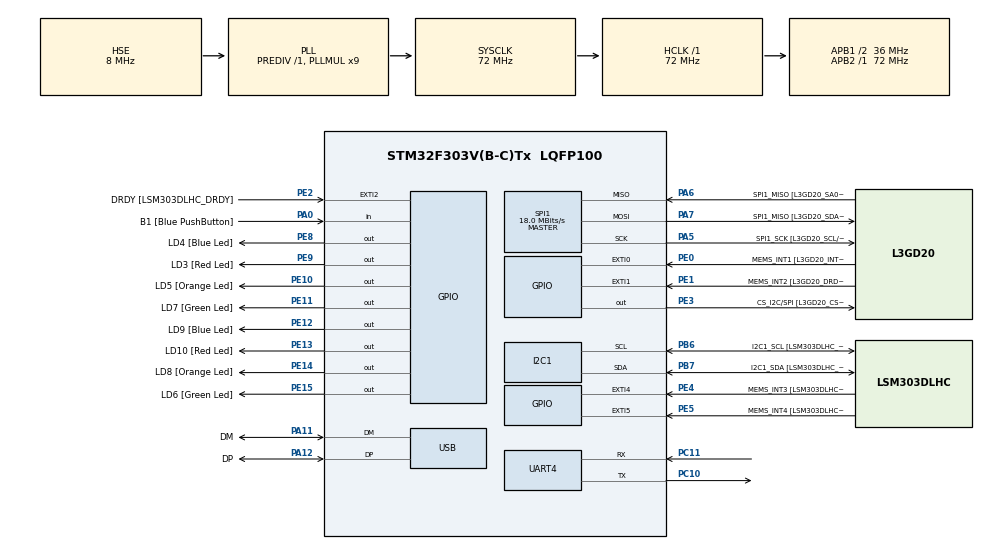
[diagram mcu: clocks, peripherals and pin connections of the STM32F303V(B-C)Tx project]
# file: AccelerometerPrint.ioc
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I2C1.Timing-I2C=0x2000090E
Mcu.Family=STM32F3
Mcu.Name=STM32F303V(B-C)Tx
Mcu.Package=LQFP100
NVIC.PriorityGroup=NVIC_PRIORITYGROUP_0
PA0.GPIO_Label=B1 [Blue PushButton]
PA0.Signal=GPIO_Input
PA11.GPIO_Label=DM
PA11.Mode=Device
PA11.Signal=USB_DM
PA12.GPIO_Label=DP
PA12.Mode=Device
PA12.Signal=USB_DP
PA13.GPIO_Label=SWDIO
PA13.Mode=Serial_Wire
PA13.Signal=SYS_JTMS-SWDIO
PA14.GPIO_Label=SWCLK
PA14.Mode=Serial_Wire
PA14.Signal=SYS_JTCK-SWCLK
PA5.GPIO_Label=SPI1_SCK [L3GD20_SCL/SPC]
PA5.Mode=Full_Duplex_Master
PA5.Signal=SPI1_SCK
PA6.GPIO_Label=SPI1_MISO [L3GD20_SA0/SDO]
PA6.Mode=Full_Duplex_Master
PA6.Signal=SPI1_MISO
PA7.GPIO_Label=SPI1_MISO [L3GD20_SDA/SDI/SDO]
PA7.Mode=Full_Duplex_Master
PA7.Signal=SPI1_MOSI
PB3.GPIO_Label=SWO
PB3.Signal=SYS_JTDO-TRACESWO
PB6.GPIO_Label=I2C1_SCL [LSM303DLHC_SCL]
PB6.GPIO_Pu=GPIO_PULLUP
PB6.Mode=I2C
PB6.Signal=I2C1_SCL
PB7.GPIO_Label=I2C1_SDA [LSM303DLHC_SDA]
PB7.GPIO_Pu=GPIO_PULLUP
PB7.Mode=I2C
PB7.Signal=I2C1_SDA
PC10.Mode=Multiprocessor_communication
PC10.Signal=UART4_TX
PC11.Mode=Multiprocessor_communication
PC11.Signal=UART4_RX
PC14-OSC32_IN.GPIO_Label=OSC32_IN
PC14-OSC32_IN.Signal=RCC_OSC32_IN
PC15-OSC32_OUT.GPIO_Label=OSC32_OUT
PC15-OSC32_OUT.Signal=RCC_OSC32_OUT
PE0.GPIO_Label=MEMS_INT1 [L3GD20_INT1]
PE0.GPIO_ModeDefaultEXTI=GPIO_MODE_EVT_RISING
PE0.Signal=GPXTI0
PE1.GPIO_Label=MEMS_INT2 [L3GD20_DRDY/INT2]
PE1.GPIO_ModeDefaultEXTI=GPIO_MODE_EVT_RISING
PE1.Signal=GPXTI1
PE10.GPIO_Label=LD5 [Orange Led]
PE10.Signal=GPIO_Output
PE11.GPIO_Label=LD7 [Green Led]
PE11.Signal=GPIO_Output
PE12.GPIO_Label=LD9 [Blue Led]
PE12.Signal=GPIO_Output
PE13.GPIO_Label=LD10 [Red Led]
PE13.Signal=GPIO_Output
PE14.GPIO_Label=LD8 [Orange Led]
PE14.Signal=GPIO_Output
PE15.GPIO_Label=LD6 [Green Led]
PE15.Signal=GPIO_Output
PE2.GPIO_Label=DRDY [LSM303DLHC_DRDY]
PE2.GPIO_ModeDefaultEXTI=GPIO_MODE_EVT_RISING
PE2.Signal=GPXTI2
PE3.GPIO_Label=CS_I2C/SPI [L3GD20_CS_I2C/SPI]
PE3.Signal=GPIO_Output
PE4.GPIO_Label=MEMS_INT3 [LSM303DLHC_INT1]
PE4.GPIO_ModeDefaultEXTI=GPIO_MODE_EVT_RISING
PE4.Signal=GPXTI4
PE5.GPIO_Label=MEMS_INT4 [LSM303DLHC_INT2]
PE5.GPIO_ModeDefaultEXTI=GPIO_MODE_EVT_RISING
PE5.Signal=GPXTI5
PE8.GPIO_Label=LD4 [Blue Led]
PE8.Signal=GPIO_Output
PE9.GPIO_Label=LD3 [Red Led]
PE9.Signal=GPIO_Output
PF0-OSC_IN.GPIO_Label=OSC_IN
PF0-OSC_IN.Mode=HSE-External-Clock-Source
PF0-OSC_IN.Signal=RCC_OSC_IN
PF1-OSC_OUT.GPIO_Label=OSC_OUT
PF1-OSC_OUT.Signal=RCC_OSC_OUT
ProjectManager.HeapSize=0x200
ProjectManager.StackSize=0x400
ProjectManager.TargetToolchain=STM32CubeIDE
RCC.AHBFreq_Value=72000000
RCC.APB1CLKDivider=RCC_HCLK_DIV2
RCC.APB1Freq_Value=36000000
RCC.APB1TimFreq_Value=72000000
RCC.APB2Freq_Value=72000000
RCC.APB2TimFreq_Value=72000000
RCC.CortexFreq_Value=72000000
RCC.HCLKFreq_Value=72000000
RCC.HSE_VALUE=8000000
RCC.HSI_VALUE=8000000
RCC.LSE_VALUE=32768
RCC.PLLMUL=RCC_PLL_MUL9
RCC.PRESCALERUSB=RCC_USBCLKSOURCE_PLL_DIV1_5
RCC.SYSCLKFreq_VALUE=72000000
RCC.SYSCLKSourceVirtual=RCC_SYSCLKSOURCE_PLLCLK
RCC.USBFreq_Value=48000000
SPI1.BaudRatePrescaler=SPI_BAUDRATEPRESCALER_4
SPI1.BaudRatePrescaler-Full_Duplex_Master=SPI_BAUDRATEPRESCALER_2
SPI1.CalculateBaudRate=18.0 MBits/s
SPI1.CalculateBaudRate-Full_Duplex_Master=24.0 MBits/s
SPI1.Direction=SPI_DIRECTION_2LINES
SPI1.Mode=SPI_MODE_MASTER
SPI1.Mode-Full_Duplex_Master=SPI_MODE_MASTER
SPI1.VirtualType=VM_MASTER
board=STM32F3DISCOVERY

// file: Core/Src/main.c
/* USER CODE BEGIN Header */
/**
  ******************************************************************************
  * @file           : main.c
  * @brief          : Main program body
  ******************************************************************************
  * @attention
  *
  * Copyright (c) 2022 STMicroelectronics.
  * All rights reserved.
  *
  * This software is licensed under terms that can be found in the LICENSE file
  * in the root directory of this software component.
  * If no LICENSE file comes with this software, it is provided AS-IS.
  *
  ******************************************************************************
  */
/* USER CODE END Header */
#include "main.h"

#include <string.h>
#include <stdio.h>

I2C_HandleTypeDef hi2c1;

SPI_HandleTypeDef hspi1;

UART_HandleTypeDef huart4;

PCD_HandleTypeDef hpcd_USB_FS;

void SystemClock_Config(void);
static void MX_GPIO_Init(void);
static void MX_SPI1_Init(void);
static void MX_UART4_Init(void);
static void MX_USB_PCD_Init(void);
static void MX_I2C1_Init(void);
/* USER CODE BEGIN PFP */

int print(char * string) {
	for (int i = 0 ; i < strlen(string); i++) {
		ITM_SendChar(string[i]);
	}
	return 1;
}
/* USER CODE END PFP */

/* USER CODE BEGIN 0 */

HAL_StatusTypeDef ret;
uint16_t accel_address =  0b0011001 << 1;
uint16_t accel_write_address = 0x32;
uint8_t result;
char string[64]= "";
void checkAccel(){

	ret = HAL_I2C_IsDeviceReady(&hi2c1, accel_address, 1, HAL_MAX_DELAY);
	if (ret != 0) {
				sprintf(string,"Status is : %x\n",ret);
				print(string);
	}else {
		print("	Device ready\n");
	}
}

void print_OUT_X(){
	/*
	uint8_t buf[3];
	print("Get X L\n");
	uint8_t reg_add = 0x28;//OUT_X_L_A
	//ret = HAL_I2C_Master_Receive(&hi2c1, accel_address, buf,0, HAL_MAX_DELAY);
	if (ret != 0) {
			sprintf(string,"status is : %x\n",ret);
			print(string);
		}
	result = buf[0];
	sprintf(string,"xl is : %x\n",result);
	print(string);
*/
	uint8_t buf[2];
	uint8_t reg_add = 0x28;
	buf[0] = reg_add;

	ret = HAL_I2C_Master_Transmit(&hi2c1, accel_address, buf, 1, HAL_MAX_DELAY);
	//ret = HAL_I2C_Mem_Read(&hi2c1, accel_address, reg_add, 8, buf,1, HAL_MAX_DELAY);
	ret = HAL_I2C_Master_Receive(&hi2c1, accel_address, buf,2, HAL_MAX_DELAY);
	if (ret != 0) {
		sprintf(string,"status is : %x\n",ret);
		print(string);
	}
	int16_t rasult = (buf[1] << 8) | buf[0];
	sprintf(string,"overall accel value is %d\n",rasult);
	print(string);
}

void set_CTRL_REG1_A(){
	print("Set CTRL A\n");
	uint8_t buf[2];
	uint8_t reg_add =  0x20;//CTRL_REG1_A
	buf[0] = reg_add; //bug reg addr in buffer
	buf[1]= 0b10010111; //01110111 start the accel
	ret = HAL_I2C_Master_Transmit(&hi2c1, accel_address, buf, 2, HAL_MAX_DELAY);
	//ret = HAL_I2C_Mem_Write(&hi2c1, accel_address, reg_add, 8, buf, 1, HAL_MAX_DELAY);
	if (ret != 0) {
		sprintf(string,"status is : %x\n",ret);
		print(string);
	}
}

void read_CTRL_REG1_A(){
	print("Read CTRL A\n");
	uint8_t buf[1];
	uint8_t result[1];
	uint8_t reg_add = 0x20;//OUT_X_L_A
	buf[0] = reg_add;

	ret = HAL_I2C_Master_Transmit(&hi2c1, accel_address, buf, 1, HAL_MAX_DELAY);

	//ret = HAL_I2C_Mem_Read(&hi2c1, accel_address, reg_add, 8, buf,1, HAL_MAX_DELAY);
	ret = HAL_I2C_Master_Receive(&hi2c1, accel_address, result,1, HAL_MAX_DELAY);
	if (ret != 0) {
			sprintf(string,"status is : %x\n",ret);
			print(string);
	}
	sprintf(string,"crtl is 0x%x\n",result[0]);
	print(string);
}
/* USER CODE END 0 */

int main(void)
{

  /* MCU Configuration--------------------------------------------------------*/

  /* Reset of all peripherals, Initializes the Flash interface and the Systick. */
  HAL_Init();

  /* Configure the system clock */
  SystemClock_Config();

  /* Initialize all configured peripherals */
  MX_GPIO_Init();
  MX_SPI1_Init();
  MX_UART4_Init();
  MX_USB_PCD_Init();
  MX_I2C1_Init();

  /* USER CODE BEGIN 2 */
  checkAccel();
  set_CTRL_REG1_A();
  read_CTRL_REG1_A();

  while (1)
  {
	  print_OUT_X();
	  HAL_Delay(20);

  }
  /* USER CODE END 3 */
}

void SystemClock_Config(void)
{
  RCC_OscInitTypeDef RCC_OscInitStruct = {0};
  RCC_ClkInitTypeDef RCC_ClkInitStruct = {0};
  RCC_PeriphCLKInitTypeDef PeriphClkInit = {0};

  /** Initializes the RCC Oscillators according to the specified parameters
  * in the RCC_OscInitTypeDef structure.
  */
  RCC_OscInitStruct.OscillatorType = RCC_OSCILLATORTYPE_HSI|RCC_OSCILLATORTYPE_HSE;
  RCC_OscInitStruct.HSEState = RCC_HSE_BYPASS;
  RCC_OscInitStruct.HSEPredivValue = RCC_HSE_PREDIV_DIV1;
  RCC_OscInitStruct.HSIState = RCC_HSI_ON;
  RCC_OscInitStruct.HSICalibrationValue = RCC_HSICALIBRATION_DEFAULT;
  RCC_OscInitStruct.PLL.PLLState = RCC_PLL_ON;
  RCC_OscInitStruct.PLL.PLLSource = RCC_PLLSOURCE_HSE;
  RCC_OscInitStruct.PLL.PLLMUL = RCC_PLL_MUL9;
  if (HAL_RCC_OscConfig(&RCC_OscInitStruct) != HAL_OK)
  {
    Error_Handler();
  }

  /** Initializes the CPU, AHB and APB buses clocks
  */
  RCC_ClkInitStruct.ClockType = RCC_CLOCKTYPE_HCLK|RCC_CLOCKTYPE_SYSCLK
                              |RCC_CLOCKTYPE_PCLK1|RCC_CLOCKTYPE_PCLK2;
  RCC_ClkInitStruct.SYSCLKSource = RCC_SYSCLKSOURCE_PLLCLK;
  RCC_ClkInitStruct.AHBCLKDivider = RCC_SYSCLK_DIV1;
  RCC_ClkInitStruct.APB1CLKDivider = RCC_HCLK_DIV2;
  RCC_ClkInitStruct.APB2CLKDivider = RCC_HCLK_DIV1;

  if (HAL_RCC_ClockConfig(&RCC_ClkInitStruct, FLASH_LATENCY_2) != HAL_OK)
  {
    Error_Handler();
  }
  PeriphClkInit.PeriphClockSelection = RCC_PERIPHCLK_USB|RCC_PERIPHCLK_UART4
                              |RCC_PERIPHCLK_I2C1;
  PeriphClkInit.Uart4ClockSelection = RCC_UART4CLKSOURCE_PCLK1;
  PeriphClkInit.I2c1ClockSelection = RCC_I2C1CLKSOURCE_HSI;
  PeriphClkInit.USBClockSelection = RCC_USBCLKSOURCE_PLL_DIV1_5;
  if (HAL_RCCEx_PeriphCLKConfig(&PeriphClkInit) != HAL_OK)
  {
    Error_Handler();
  }
}

static void MX_I2C1_Init(void)
{

  hi2c1.Instance = I2C1;
  hi2c1.Init.Timing = 0x2000090E;
  hi2c1.Init.OwnAddress1 = 0;
  hi2c1.Init.AddressingMode = I2C_ADDRESSINGMODE_7BIT;
  hi2c1.Init.DualAddressMode = I2C_DUALADDRESS_DISABLE;
  hi2c1.Init.OwnAddress2 = 0;
  hi2c1.Init.OwnAddress2Masks = I2C_OA2_NOMASK;
  hi2c1.Init.GeneralCallMode = I2C_GENERALCALL_DISABLE;
  hi2c1.Init.NoStretchMode = I2C_NOSTRETCH_DISABLE;
  if (HAL_I2C_Init(&hi2c1) != HAL_OK)
  {
    Error_Handler();
  }

  /** Configure Analogue filter
  */
  if (HAL_I2CEx_ConfigAnalogFilter(&hi2c1, I2C_ANALOGFILTER_ENABLE) != HAL_OK)
  {
    Error_Handler();
  }

  /** Configure Digital filter
  */
  if (HAL_I2CEx_ConfigDigitalFilter(&hi2c1, 0) != HAL_OK)
  {
    Error_Handler();
  }

}

static void MX_SPI1_Init(void)
{

  /* SPI1 parameter configuration*/
  hspi1.Instance = SPI1;
  hspi1.Init.Mode = SPI_MODE_MASTER;
  hspi1.Init.Direction = SPI_DIRECTION_2LINES;
  hspi1.Init.DataSize = SPI_DATASIZE_4BIT;
  hspi1.Init.CLKPolarity = SPI_POLARITY_LOW;
  hspi1.Init.CLKPhase = SPI_PHASE_1EDGE;
  hspi1.Init.NSS = SPI_NSS_SOFT;
  hspi1.Init.BaudRatePrescaler = SPI_BAUDRATEPRESCALER_4;
  hspi1.Init.FirstBit = SPI_FIRSTBIT_MSB;
  hspi1.Init.TIMode = SPI_TIMODE_DISABLE;
  hspi1.Init.CRCCalculation = SPI_CRCCALCULATION_DISABLE;
  hspi1.Init.CRCPolynomial = 7;
  hspi1.Init.CRCLength = SPI_CRC_LENGTH_DATASIZE;
  hspi1.Init.NSSPMode = SPI_NSS_PULSE_ENABLE;
  if (HAL_SPI_Init(&hspi1) != HAL_OK)
  {
    Error_Handler();
  }

}

static void MX_UART4_Init(void)
{

  huart4.Instance = UART4;
  huart4.Init.BaudRate = 115200;
  huart4.Init.WordLength = UART_WORDLENGTH_8B;
  huart4.Init.StopBits = UART_STOPBITS_1;
  huart4.Init.Parity = UART_PARITY_NONE;
  huart4.Init.Mode = UART_MODE_TX_RX;
  huart4.Init.HwFlowCtl = UART_HWCONTROL_NONE;
  huart4.Init.OverSampling = UART_OVERSAMPLING_16;
  huart4.Init.OneBitSampling = UART_ONE_BIT_SAMPLE_DISABLE;
  huart4.AdvancedInit.AdvFeatureInit = UART_ADVFEATURE_NO_INIT;
  if (HAL_MultiProcessor_Init(&huart4, 0, UART_WAKEUPMETHOD_IDLELINE) != HAL_OK)
  {
    Error_Handler();
  }

}

static void MX_USB_PCD_Init(void)
{

  hpcd_USB_FS.Instance = USB;
  hpcd_USB_FS.Init.dev_endpoints = 8;
  hpcd_USB_FS.Init.speed = PCD_SPEED_FULL;
  hpcd_USB_FS.Init.phy_itface = PCD_PHY_EMBEDDED;
  hpcd_USB_FS.Init.low_power_enable = DISABLE;
  hpcd_USB_FS.Init.battery_charging_enable = DISABLE;
  if (HAL_PCD_Init(&hpcd_USB_FS) != HAL_OK)
  {
    Error_Handler();
  }

}

static void MX_GPIO_Init(void)
{
  GPIO_InitTypeDef GPIO_InitStruct = {0};

  /* GPIO Ports Clock Enable */
  __HAL_RCC_GPIOE_CLK_ENABLE();
  __HAL_RCC_GPIOC_CLK_ENABLE();
  __HAL_RCC_GPIOF_CLK_ENABLE();
  __HAL_RCC_GPIOA_CLK_ENABLE();
  __HAL_RCC_GPIOB_CLK_ENABLE();

  /*Configure GPIO pin Output Level */
  HAL_GPIO_WritePin(GPIOE, CS_I2C_SPI_Pin|LD4_Pin|LD3_Pin|LD5_Pin
                          |LD7_Pin|LD9_Pin|LD10_Pin|LD8_Pin
                          |LD6_Pin, GPIO_PIN_RESET);

  /*Configure GPIO pins : DRDY_Pin MEMS_INT3_Pin MEMS_INT4_Pin MEMS_INT1_Pin
                           MEMS_INT2_Pin */
  GPIO_InitStruct.Pin = DRDY_Pin|MEMS_INT3_Pin|MEMS_INT4_Pin|MEMS_INT1_Pin
                          |MEMS_INT2_Pin;
  GPIO_InitStruct.Mode = GPIO_MODE_EVT_RISING;
  GPIO_InitStruct.Pull = GPIO_NOPULL;
  HAL_GPIO_Init(GPIOE, &GPIO_InitStruct);

  /*Configure GPIO pins : CS_I2C_SPI_Pin LD4_Pin LD3_Pin LD5_Pin
                           LD7_Pin LD9_Pin LD10_Pin LD8_Pin
                           LD6_Pin */
  GPIO_InitStruct.Pin = CS_I2C_SPI_Pin|LD4_Pin|LD3_Pin|LD5_Pin
                          |LD7_Pin|LD9_Pin|LD10_Pin|LD8_Pin
                          |LD6_Pin;
  GPIO_InitStruct.Mode = GPIO_MODE_OUTPUT_PP;
  GPIO_InitStruct.Pull = GPIO_NOPULL;
  GPIO_InitStruct.Speed = GPIO_SPEED_FREQ_LOW;
  HAL_GPIO_Init(GPIOE, &GPIO_InitStruct);

  /*Configure GPIO pin : B1_Pin */
  GPIO_InitStruct.Pin = B1_Pin;
  GPIO_InitStruct.Mode = GPIO_MODE_INPUT;
  GPIO_InitStruct.Pull = GPIO_NOPULL;
  HAL_GPIO_Init(B1_GPIO_Port, &GPIO_InitStruct);

}

void Error_Handler(void)
{
  __disable_irq();
  while (1)
  {
  }
}
